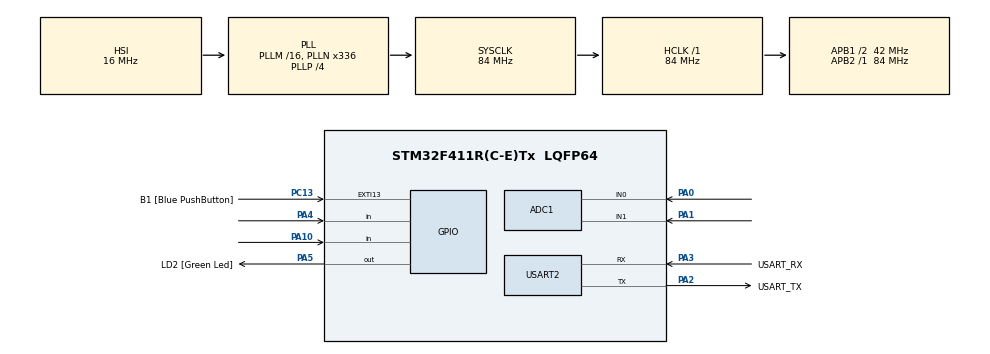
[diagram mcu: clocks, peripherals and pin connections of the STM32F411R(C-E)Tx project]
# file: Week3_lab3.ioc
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ADC1.Channel-0\#ChannelRegularConversion=ADC_CHANNEL_0
ADC1.NbrOfConversionFlag=1
ADC1.Rank-0\#ChannelRegularConversion=1
ADC1.SamplingTime-0\#ChannelRegularConversion=ADC_SAMPLETIME_3CYCLES
ADC1.master=1
Mcu.Family=STM32F4
Mcu.Name=STM32F411R(C-E)Tx
Mcu.Package=LQFP64
NVIC.PriorityGroup=NVIC_PRIORITYGROUP_0
PA0-WKUP.Signal=ADCx_IN0
PA1.Signal=ADCx_IN1
PA10.Signal=GPIO_Input
PA13.GPIO_Label=TMS
PA13.Mode=Serial_Wire
PA13.Signal=SYS_JTMS-SWDIO
PA14.GPIO_Label=TCK
PA14.Mode=Serial_Wire
PA14.Signal=SYS_JTCK-SWCLK
PA2.GPIO_Label=USART_TX
PA2.Mode=Asynchronous
PA2.Signal=USART2_TX
PA3.GPIO_Label=USART_RX
PA3.Mode=Asynchronous
PA3.Signal=USART2_RX
PA4.Signal=GPIO_Input
PA5.GPIO_Label=LD2 [Green Led]
PA5.Signal=GPIO_Output
PB3.GPIO_Label=SWO
PB3.Signal=SYS_JTDO-SWO
PC13-ANTI_TAMP.GPIO_Label=B1 [Blue PushButton]
PC13-ANTI_TAMP.GPIO_ModeDefaultEXTI=GPIO_MODE_IT_FALLING
PC13-ANTI_TAMP.Signal=GPXTI13
PC14-OSC32_IN.Mode=LSE-External-Oscillator
PC14-OSC32_IN.Signal=RCC_OSC32_IN
PC15-OSC32_OUT.Mode=LSE-External-Oscillator
PC15-OSC32_OUT.Signal=RCC_OSC32_OUT
PH0\ -\ OSC_IN.Mode=HSE-External-Clock-Source
PH0\ -\ OSC_IN.Signal=RCC_OSC_IN
PH1\ -\ OSC_OUT.Mode=HSE-External-Clock-Source
PH1\ -\ OSC_OUT.Signal=RCC_OSC_OUT
ProjectManager.HeapSize=0x200
ProjectManager.StackSize=0x400
ProjectManager.TargetToolchain=STM32CubeIDE
RCC.48MHZClocksFreq_Value=84000000
RCC.AHBFreq_Value=84000000
RCC.APB1CLKDivider=RCC_HCLK_DIV2
RCC.APB1Freq_Value=42000000
RCC.APB1TimFreq_Value=84000000
RCC.APB2Freq_Value=84000000
RCC.APB2TimFreq_Value=84000000
RCC.CortexFreq_Value=84000000
RCC.FLatency-AdvancedSettings=FLASH_LATENCY_2
RCC.HCLKFreq_Value=84000000
RCC.HSE_VALUE=8000000
RCC.HSI_VALUE=16000000
RCC.PLLN=336
RCC.PLLP=RCC_PLLP_DIV4
RCC.SYSCLKFreq_VALUE=84000000
RCC.SYSCLKSource=RCC_SYSCLKSOURCE_PLLCLK
RCC.VCOOutputFreq_Value=336000000
SH.ADCx_IN0.0=ADC1_IN0,IN0
SH.ADCx_IN1.0=ADC1_IN1,IN1
USART2.VirtualMode=VM_ASYNC
VP_ADC1_TempSens_Input.Mode=IN-TempSens
board=NUCLEO-F411RE

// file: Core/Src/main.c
/* USER CODE BEGIN Header */
/**
 ******************************************************************************
 * @file           : main.c
 * @brief          : Main program body
 ******************************************************************************
 * @attention
 *
 * <h2><center>&copy; Copyright (c) 2021 STMicroelectronics.
 * All rights reserved.</center></h2>
 *
 * This software component is licensed by ST under BSD 3-Clause license,
 * the "License"; You may not use this file except in compliance with the
 * License. You may obtain a copy of the License at:
 *                        opensource.org/licenses/BSD-3-Clause
 *
 ******************************************************************************
 */
/* USER CODE END Header */
#include "main.h"

ADC_HandleTypeDef hadc1;

UART_HandleTypeDef huart2;

/* USER CODE BEGIN PV */
uint16_t adcdata[2] = { 0 };
float ADCOutputConverted = 0;
int ADCMode = 0;
int count = 0;
GPIO_PinState PutSW[2];
uint32_t timeStamp = 0;
float Vcc = 3.3;
float Vres = 4096;
float V25 = 0.76;
float Avg = 2.5 / 1000;
typedef struct {
	ADC_ChannelConfTypeDef Config;
	uint32_t data;
} ADCStructure;

ADCStructure ADCChannel[2] = { 0 };

/* USER CODE END PV */

void SystemClock_Config(void);
static void MX_GPIO_Init(void);
static void MX_USART2_UART_Init(void);
static void MX_ADC1_Init(void);
/* USER CODE BEGIN PFP */
void ADCPollingMethodInit();
void ADCPollingMethodUpdate();
void test();
/* USER CODE END PFP */

int main(void) {

	/* MCU Configuration--------------------------------------------------------*/

	/* Reset of all peripherals, Initializes the Flash interface and the Systick. */
	HAL_Init();

	/* Configure the system clock */
	SystemClock_Config();

	/* Initialize all configured peripherals */
	MX_GPIO_Init();
	MX_USART2_UART_Init();
	MX_ADC1_Init();
	/* USER CODE BEGIN 2 */
	ADCPollingMethodInit();

	/* USER CODE END 2 */

	/* Infinite loop */
	while (1) {

		/* USER CODE BEGIN 3 */

		ADCPollingMethodUpdate();

		if (HAL_GetTick() - timeStamp >= 100) {
			timeStamp = HAL_GetTick();
			test();
		}

	}
	/* USER CODE END 3 */
}

void SystemClock_Config(void) {
	RCC_OscInitTypeDef RCC_OscInitStruct = { 0 };
	RCC_ClkInitTypeDef RCC_ClkInitStruct = { 0 };

	/** Configure the main internal regulator output voltage
	 */
	__HAL_RCC_PWR_CLK_ENABLE();
	__HAL_PWR_VOLTAGESCALING_CONFIG(PWR_REGULATOR_VOLTAGE_SCALE1);
	/** Initializes the RCC Oscillators according to the specified parameters
	 * in the RCC_OscInitTypeDef structure.
	 */
	RCC_OscInitStruct.OscillatorType = RCC_OSCILLATORTYPE_HSI;
	RCC_OscInitStruct.HSIState = RCC_HSI_ON;
	RCC_OscInitStruct.HSICalibrationValue = RCC_HSICALIBRATION_DEFAULT;
	RCC_OscInitStruct.PLL.PLLState = RCC_PLL_ON;
	RCC_OscInitStruct.PLL.PLLSource = RCC_PLLSOURCE_HSI;
	RCC_OscInitStruct.PLL.PLLM = 16;
	RCC_OscInitStruct.PLL.PLLN = 336;
	RCC_OscInitStruct.PLL.PLLP = RCC_PLLP_DIV4;
	RCC_OscInitStruct.PLL.PLLQ = 4;
	if (HAL_RCC_OscConfig(&RCC_OscInitStruct) != HAL_OK) {
		Error_Handler();
	}
	/** Initializes the CPU, AHB and APB buses clocks
	 */
	RCC_ClkInitStruct.ClockType = RCC_CLOCKTYPE_HCLK | RCC_CLOCKTYPE_SYSCLK
			| RCC_CLOCKTYPE_PCLK1 | RCC_CLOCKTYPE_PCLK2;
	RCC_ClkInitStruct.SYSCLKSource = RCC_SYSCLKSOURCE_PLLCLK;
	RCC_ClkInitStruct.AHBCLKDivider = RCC_SYSCLK_DIV1;
	RCC_ClkInitStruct.APB1CLKDivider = RCC_HCLK_DIV2;
	RCC_ClkInitStruct.APB2CLKDivider = RCC_HCLK_DIV1;

	if (HAL_RCC_ClockConfig(&RCC_ClkInitStruct, FLASH_LATENCY_2) != HAL_OK) {
		Error_Handler();
	}
}

static void MX_ADC1_Init(void) {

	ADC_ChannelConfTypeDef sConfig = { 0 };

	/** Configure the global features of the ADC (Clock, Resolution, Data Alignment and number of conversion)
	 */
	hadc1.Instance = ADC1;
	hadc1.Init.ClockPrescaler = ADC_CLOCK_SYNC_PCLK_DIV4;
	hadc1.Init.Resolution = ADC_RESOLUTION_12B;
	hadc1.Init.ScanConvMode = DISABLE;
	hadc1.Init.ContinuousConvMode = DISABLE;
	hadc1.Init.DiscontinuousConvMode = DISABLE;
	hadc1.Init.ExternalTrigConvEdge = ADC_EXTERNALTRIGCONVEDGE_NONE;
	hadc1.Init.ExternalTrigConv = ADC_SOFTWARE_START;
	hadc1.Init.DataAlign = ADC_DATAALIGN_RIGHT;
	hadc1.Init.NbrOfConversion = 1;
	hadc1.Init.DMAContinuousRequests = DISABLE;
	hadc1.Init.EOCSelection = ADC_EOC_SINGLE_CONV;
	if (HAL_ADC_Init(&hadc1) != HAL_OK) {
		Error_Handler();
	}
	/** Configure for the selected ADC regular channel its corresponding rank in the sequencer and its sample time.
	 */
	sConfig.Channel = ADC_CHANNEL_0;
	sConfig.Rank = 1;
	sConfig.SamplingTime = ADC_SAMPLETIME_3CYCLES;
	if (HAL_ADC_ConfigChannel(&hadc1, &sConfig) != HAL_OK) {
		Error_Handler();
	}

}

static void MX_USART2_UART_Init(void) {

	huart2.Instance = USART2;
	huart2.Init.BaudRate = 115200;
	huart2.Init.WordLength = UART_WORDLENGTH_8B;
	huart2.Init.StopBits = UART_STOPBITS_1;
	huart2.Init.Parity = UART_PARITY_NONE;
	huart2.Init.Mode = UART_MODE_TX_RX;
	huart2.Init.HwFlowCtl = UART_HWCONTROL_NONE;
	huart2.Init.OverSampling = UART_OVERSAMPLING_16;
	if (HAL_UART_Init(&huart2) != HAL_OK) {
		Error_Handler();
	}

}

static void MX_GPIO_Init(void) {
	GPIO_InitTypeDef GPIO_InitStruct = { 0 };

	/* GPIO Ports Clock Enable */
	__HAL_RCC_GPIOC_CLK_ENABLE();
	__HAL_RCC_GPIOH_CLK_ENABLE();
	__HAL_RCC_GPIOA_CLK_ENABLE();
	__HAL_RCC_GPIOB_CLK_ENABLE();

	/*Configure GPIO pin Output Level */
	HAL_GPIO_WritePin(LD2_GPIO_Port, LD2_Pin, GPIO_PIN_RESET);

	/*Configure GPIO pin : B1_Pin */
	GPIO_InitStruct.Pin = B1_Pin;
	GPIO_InitStruct.Mode = GPIO_MODE_IT_FALLING;
	GPIO_InitStruct.Pull = GPIO_NOPULL;
	HAL_GPIO_Init(B1_GPIO_Port, &GPIO_InitStruct);

	/*Configure GPIO pins : PA4 PA10 */
	GPIO_InitStruct.Pin = GPIO_PIN_4 | GPIO_PIN_10;
	GPIO_InitStruct.Mode = GPIO_MODE_INPUT;
	GPIO_InitStruct.Pull = GPIO_NOPULL;
	HAL_GPIO_Init(GPIOA, &GPIO_InitStruct);

	/*Configure GPIO pin : LD2_Pin */
	GPIO_InitStruct.Pin = LD2_Pin;
	GPIO_InitStruct.Mode = GPIO_MODE_OUTPUT_PP;
	GPIO_InitStruct.Pull = GPIO_NOPULL;
	GPIO_InitStruct.Speed = GPIO_SPEED_FREQ_LOW;
	HAL_GPIO_Init(LD2_GPIO_Port, &GPIO_InitStruct);

}

/* USER CODE BEGIN 4 */
void ADCPollingMethodInit() {
	//config all ADC Channel
	ADCChannel[0].Config.Channel = ADC_CHANNEL_0;
	ADCChannel[0].Config.Rank = 1;
	ADCChannel[0].Config.SamplingTime = ADC_SAMPLETIME_3CYCLES;

//	ADCChannel[1].Config.Channel = ADC_CHANNEL_1;
//	ADCChannel[1].Config.Rank = 1;
//	ADCChannel[1].Config.SamplingTime = ADC_SAMPLETIME_3CYCLES;

	ADCChannel[1].Config.Channel = ADC_CHANNEL_TEMPSENSOR;
	ADCChannel[1].Config.Rank = 1;
	ADCChannel[1].Config.SamplingTime = ADC_SAMPLETIME_3CYCLES;
}
//Polling Method
void ADCPollingMethodUpdate() {
	//Read all 3 Channel
	for (int i = 0; i < 2; i++) {
		HAL_ADC_ConfigChannel(&hadc1, &ADCChannel[i].Config);
		HAL_ADC_Start(&hadc1);
		if (HAL_ADC_PollForConversion(&hadc1, 10) == HAL_OK) {
			//getValue
			ADCChannel[i].data = HAL_ADC_GetValue(&hadc1);
		}
		//Stop
		HAL_ADC_Stop(&hadc1);
	}
}
void test()
{
	PutSW[0] = HAL_GPIO_ReadPin(GPIOA, GPIO_PIN_10);
	if (PutSW[1] == GPIO_PIN_SET && PutSW[0] == GPIO_PIN_RESET) {
		count++;
	}
	PutSW[1] = PutSW[0];
		ADCMode=count%2;
		switch (ADCMode) {
		case 0:

			ADCOutputConverted = ((Vcc / Vres) * ADCChannel[0].data) * 1000;
			break;
		case 1:
			ADCOutputConverted = ((((Vcc / Vres) * ADCChannel[1].data) - V25)
					/ Avg) + 25;
			break;
		}
}
/* USER CODE END 4 */

void Error_Handler(void) {
	__disable_irq();
	while (1) {
	}
}

/************************ (C) COPYRIGHT STMicroelectronics *****END OF FILE****/
